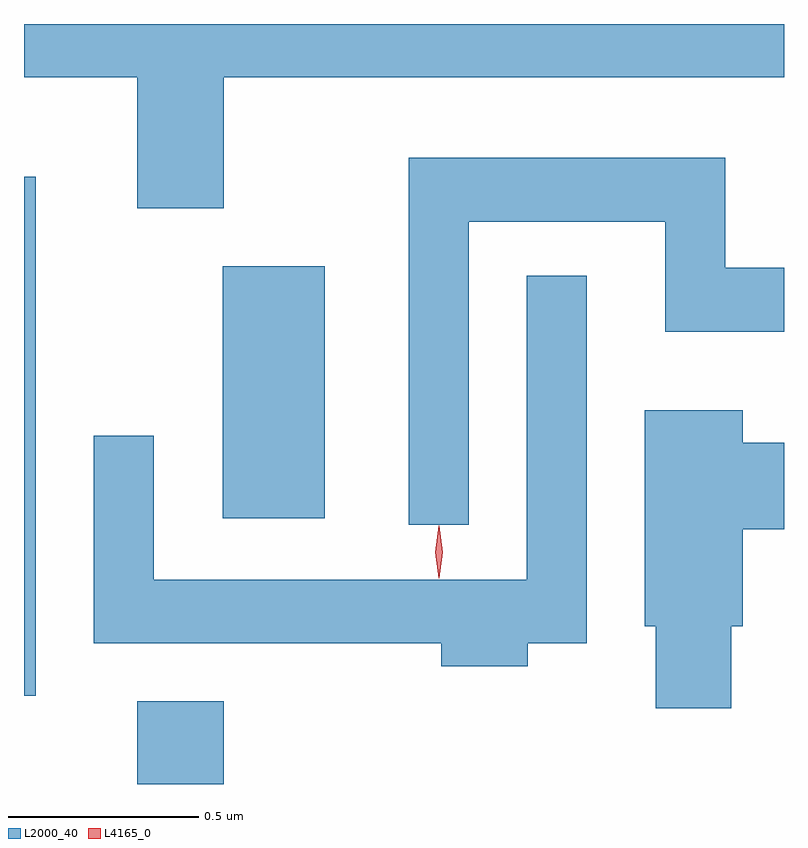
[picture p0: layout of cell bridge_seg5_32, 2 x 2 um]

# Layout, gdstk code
import gdstk
lib = gdstk.Library(unit=1e-6, precision=1e-09)
def R(c, l, rs):  # rectangles x0, y0, x1, y1
    for r in rs: c.add(gdstk.rectangle(r[:2], r[2:], *l))
def P(c, l, *ps):  # polygons
    for p in ps: c.add(gdstk.Polygon(p, *l))
L2000_40 = (2000, 40)
L4165_0 = (4165, 0)

bridge_seg5_32 = lib.new_cell('bridge_seg5_32')
R(bridge_seg5_32, L2000_40, [(1339.101,1472.696,1339.329,1472.914), (1338.803,1472.928,1338.834,1474.294), (1339.326,1473.396,1339.594,1474.059)])
P(bridge_seg5_32, L2000_40, [(1339.329,1474.556),(1340.803,1474.556),(1340.803,1474.696),(1338.803,1474.696),(1338.803,1474.556),(1339.101,1474.556),(1339.101,1474.211),(1339.329,1474.211)],
  [(1339.974,1474.176),(1340.491,1474.176),(1340.491,1473.886),(1340.803,1473.886),(1340.803,1474.054),(1340.649,1474.054),(1340.649,1474.344),(1339.816,1474.344),(1339.816,1473.378),(1339.974,1473.378)],
  [(1340.129,1473.066),(1340.284,1473.066),(1340.284,1474.033),(1340.126,1474.033),(1340.126,1473.234),(1339.144,1473.234),(1339.144,1473.613),(1338.986,1473.613),(1338.986,1473.066),(1339.901,1473.066),(1339.901,1473.006),(1340.129,1473.006)],
  [(1340.664,1473.111),(1340.694,1473.111),(1340.694,1473.366),(1340.803,1473.366),(1340.803,1473.594),(1340.694,1473.594),(1340.694,1473.679),(1340.436,1473.679),(1340.436,1473.111),(1340.466,1473.111),(1340.466,1472.896),(1340.664,1472.896)])
P(bridge_seg5_32, L4165_0, [(1339.894,1473.237),(1339.885,1473.306),(1339.894,1473.376),(1339.895,1473.376),(1339.896,1473.376),(1339.905,1473.306),(1339.896,1473.237),(1339.895,1473.237)],
  [(1339.895,1473.24),(1339.885,1473.306),(1339.894,1473.372),(1339.895,1473.373),(1339.896,1473.372),(1339.905,1473.306),(1339.896,1473.24),(1339.896,1473.24)])

lib.write_gds('bridge_seg5_32.gds')
